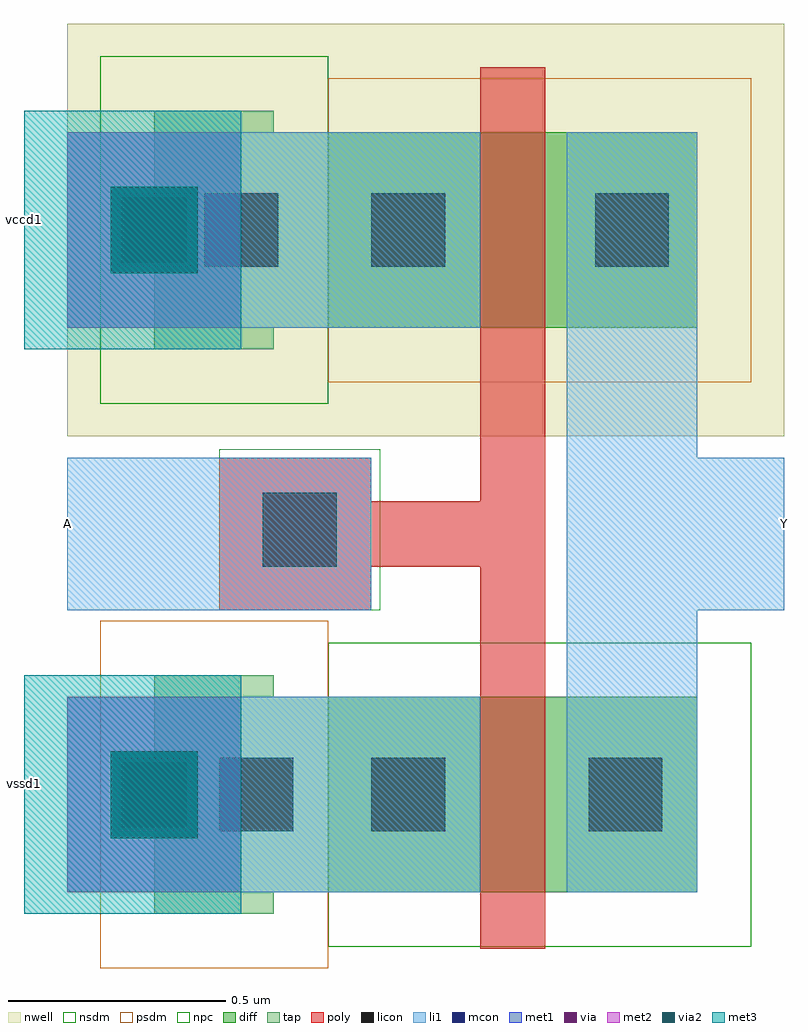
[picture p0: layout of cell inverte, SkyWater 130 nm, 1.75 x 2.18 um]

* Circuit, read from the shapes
.subckt inverte A Y vccd1 vssd1
XM1 Y A vssd1 vssd1 sky130_fd_pr__nfet_01v8 w=0.45 l=0.15
XM2 Y A vccd1 vccd1 sky130_fd_pr__pfet_01v8 w=0.45 l=0.15
.ends

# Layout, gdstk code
import gdstk
lib = gdstk.Library(unit=1e-6, precision=1e-09)
def R(c, l, rs):  # rectangles x0, y0, x1, y1
    for r in rs: c.add(gdstk.rectangle(r[:2], r[2:], *l))
nwell = (64, 20)
diff = (65, 20)
tap = (65, 44)
poly = (66, 20)
licon = (66, 44)
li1 = (67, 20)
mcon = (67, 44)
met1 = (68, 20)
via = (68, 44)
met2 = (69, 20)
via2 = (69, 44)
met3 = (70, 20)
nsdm = (93, 44)
psdm = (94, 20)
npc = (95, 20)

inverte = lib.new_cell('inverte')
R(inverte, nwell, [(-0.9,0.75,0.75,1.7)])
R(inverte, diff, [(-0.3,-0.3,0.55,0.15), (-0.3,1,0.55,1.45)])
R(inverte, tap, [(-0.7,-0.35,-0.425,-0.3), (-0.7,-0.3,-0.3,0.15), (-0.7,0.15,-0.425,0.2), (-0.7,0.95,-0.425,1), (-0.7,1,-0.3,1.45), (-0.7,1.45,-0.425,1.5)])
R(inverte, poly, [(0.05,-0.43,0.2,0.45), (-0.55,0.35,-0.2,0.45), (-0.55,0.45,0.2,0.6), (-0.55,0.6,-0.2,0.7), (0.05,0.6,0.2,1.6)])
R(inverte, licon, [(-0.55,-0.16,-0.38,0.01), (-0.2,-0.16,-0.03,0.01), (0.3,-0.16,0.47,0.01), (-0.45,0.45,-0.28,0.62), (-0.585,1.14,-0.415,1.31), (-0.2,1.14,-0.03,1.31), (0.315,1.14,0.485,1.31)])
R(inverte, li1, [(-0.9,-0.3,0.05,0.15), (0.25,-0.3,0.55,0.35), (-0.9,0.35,-0.2,0.7), (0.25,0.35,0.75,0.7), (0.25,0.7,0.55,1.45), (-0.9,1,0.05,1.45)])
R(inverte, mcon, [(-0.785,-0.16,-0.615,0.01), (-0.785,1.14,-0.615,1.31)])
R(inverte, met1, [(-0.9,-0.3,-0.5,0.15), (-0.9,1,-0.5,1.45)])
R(inverte, via, [(-0.775,-0.15,-0.625,0), (-0.775,1.15,-0.625,1.3)])
R(inverte, met2, [(-0.9,-0.3,-0.5,0.15), (-0.9,1,-0.5,1.45)])
R(inverte, via2, [(-0.8,-0.175,-0.6,0.025), (-0.8,1.125,-0.6,1.325)])
R(inverte, met3, [(-1,-0.35,-0.5,0.2), (-1,0.95,-0.5,1.5)])
R(inverte, nsdm, [(-0.3,-0.425,0.675,0.275), (-0.825,0.825,-0.3,1.625)])
R(inverte, psdm, [(-0.825,-0.475,-0.3,0.325), (-0.3,0.875,0.675,1.575)])
R(inverte, npc, [(-0.55,0.35,-0.18,0.72)])
inverte.add(gdstk.Label('A', (-0.9,0.55), layer=67, texttype=5))
inverte.add(gdstk.Label('Y', (0.75,0.55), layer=67, texttype=5))
inverte.add(gdstk.Label('vccd1', (-1,1.25), layer=70, texttype=5))
inverte.add(gdstk.Label('vssd1', (-1,-0.05), layer=70, texttype=5))

lib.write_gds('inverte.gds')
